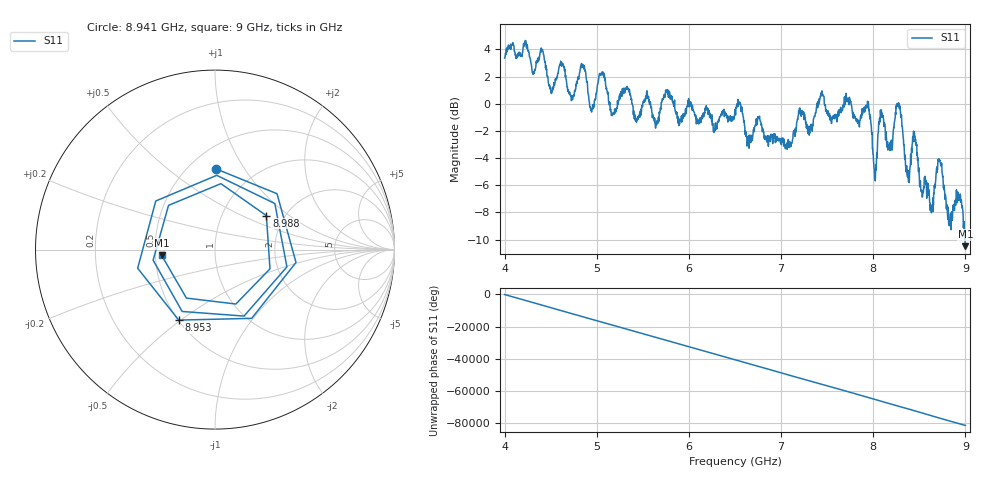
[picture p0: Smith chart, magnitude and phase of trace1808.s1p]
! Created with skrf 1.8.0 (http://scikit-rf.org).
# Hz S RI R 50.0
!freq ReS11 ImS11
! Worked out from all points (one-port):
!   1601 points, 4 GHz to 9 GHz, reference 50 ohm
!   lowest |S11| = -10.5 dB at 9 GHz (marker M1), VSWR 1.85, Z = 27 - j1.9 ohm
!   |S11| at or under -10 dB: 8.996296 GHz to end of sweep
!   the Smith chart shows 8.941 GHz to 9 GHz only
!   S11 on the Smith chart (normalised r, x): 8.941 GHz: 0.67, +0.75; 8.953 GHz: 0.50, -0.49; 8.988 GHz: 1.62, +0.69; 9 GHz: 0.54, -0.04
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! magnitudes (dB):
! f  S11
! 4 GHz  3.4
! 4.406 GHz  3.9
! 4.506 GHz  0.9
! 4.625 GHz  3.0
! 4.731 GHz  0.6
! 4.856 GHz  2.8
! 4.944 GHz  -0.6
! 5.05 GHz  2.1
! 5.25 GHz  0.3
! 5.875 GHz  -1.1
! 6.5 GHz  -0.7
! 7.125 GHz  -2.6
! 7.441 GHz  0.8
! 7.75 GHz  0.2
! 7.944 GHz  0.0
! 8.019 GHz  -5.3
! 8.084 GHz  -1.0
! 8.184 GHz  -2.9
! 8.272 GHz  -0.2
! 8.375 GHz  -4.9
! 8.447 GHz  -2.1
! 8.628 GHz  -7.6
! 8.719 GHz  -4.2
! 8.831 GHz  -8.8
! 8.941 GHz  -6.9
! 8.953 GHz  -7.1
! 8.988 GHz  -9.3
! 9 GHz  -10.5
